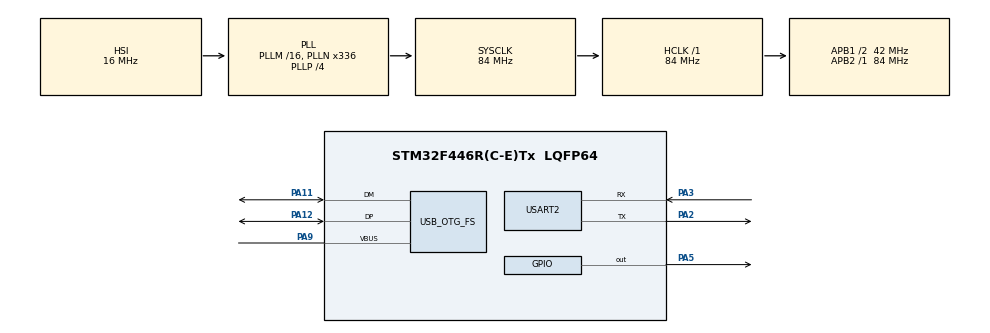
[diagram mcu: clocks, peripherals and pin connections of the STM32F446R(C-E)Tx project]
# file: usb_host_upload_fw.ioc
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FATFS._FS_EXFAT=1
FATFS._FS_TINY=1
FATFS._USE_LFN=3
Mcu.Family=STM32F4
Mcu.Name=STM32F446R(C-E)Tx
Mcu.Package=LQFP64
NVIC.OTG_FS_IRQn=true\:0\:0\:false\:false\:true\:false\:true\:true
NVIC.PriorityGroup=NVIC_PRIORITYGROUP_4
PA11.Mode=Host_Only
PA11.Signal=USB_OTG_FS_DM
PA12.Mode=Host_Only
PA12.Signal=USB_OTG_FS_DP
PA13.Mode=Serial_Wire
PA13.Signal=SYS_JTMS-SWDIO
PA14.Mode=Serial_Wire
PA14.Signal=SYS_JTCK-SWCLK
PA2.Mode=Asynchronous
PA2.Signal=USART2_TX
PA3.Mode=Asynchronous
PA3.Signal=USART2_RX
PA5.Signal=GPIO_Output
PA9.Mode=Activate_VBUS
PA9.Signal=USB_OTG_FS_VBUS
ProjectManager.HeapSize=0x200
ProjectManager.StackSize=0x400
ProjectManager.TargetToolchain=STM32CubeIDE
RCC.AHBFreq_Value=84000000
RCC.APB1CLKDivider=RCC_HCLK_DIV2
RCC.APB1Freq_Value=42000000
RCC.APB1TimFreq_Value=84000000
RCC.APB2Freq_Value=84000000
RCC.APB2TimFreq_Value=84000000
RCC.CortexFreq_Value=84000000
RCC.HCLKFreq_Value=84000000
RCC.HSE_VALUE=25000000
RCC.PLLN=336
RCC.PLLP=RCC_PLLP_DIV4
RCC.PLLQ=7
RCC.PLLSourceVirtualString=RCC_PLLSOURCE_HSI
RCC.SYSCLKFreq_VALUE=84000000
RCC.SYSCLKSource=RCC_SYSCLKSOURCE_PLLCLK
RCC.USBFreq_Value=48000000
RCC.VCOOutputFreq_Value=336000000
USART2.VirtualMode=VM_ASYNC
USB_HOST.SW_VBUS_DRIVE_MSC_FS=true
USB_HOST.USBH_HandleTypeDef-MSC_FS=hUsbHostFS
USB_HOST.VirtualModeFS=Msc
USB_OTG_FS.VirtualMode=Host_Only
USB_OTG_FS.phy_itface=HCD_PHY_EMBEDDED
VP_FATFS_VS_USB.Mode=USB
VP_USB_HOST_VS_USB_HOST_MSC_FS.Mode=MSC_FS
board=custom

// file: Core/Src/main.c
/* USER CODE BEGIN Header */
/**
  ******************************************************************************
  * @file           : main.c
  * @brief          : Main program body
  ******************************************************************************
  * @attention
  *
  * Copyright (c) 2026 STMicroelectronics.
  * All rights reserved.
  *
  * This software is licensed under terms that can be found in the LICENSE file
  * in the root directory of this software component.
  * If no LICENSE file comes with this software, it is provided AS-IS.
  *
  ******************************************************************************
  */
/* USER CODE END Header */
#include "main.h"
#include "fatfs.h"
#include "usb_host.h"

/* USER CODE BEGIN Includes */
extern ApplicationTypeDef Appli_state;
#define APP_ADDR 0x08010000
uint8_t flashed = 0;

/* USER CODE END Includes */

UART_HandleTypeDef huart2;

/* USER CODE BEGIN PV */
/* ================= PRINTF REDIRECT ================= */
int _write(int file, char *ptr, int len)
{
    HAL_UART_Transmit(&huart2, (uint8_t*)ptr, len, HAL_MAX_DELAY);
    return len;
}

int __io_putchar(int ch)
{
    HAL_UART_Transmit(&huart2, (uint8_t*)&ch, 1, HAL_MAX_DELAY);
    return ch;
}

/* USER CODE END PV */

void SystemClock_Config(void);
static void MX_GPIO_Init(void);
static void MX_USART2_UART_Init(void);
void MX_USB_HOST_Process(void);

/* USER CODE BEGIN 0 */
/* ================= JUMP TO APP ================= */
void JumpToApp(void)
{
    uint32_t sp = *(uint32_t*)APP_ADDR;

    if (sp < 0x20000000 || sp > 0x20020000)
    {
        printf("Invalid firmware\n");
        return;
    }

    uint32_t resetHandlerAddr = *(uint32_t*)(APP_ADDR + 4);
    void (*resetHandler)(void) = (void*)resetHandlerAddr;

    printf("Jumping to application...\n");
    HAL_Delay(100);

    HAL_DeInit();
    __disable_irq();

    /* Clear all interrupts */
    for (int i = 0; i < 8; i++)
    {
        NVIC->ICER[i] = 0xFFFFFFFF;
        NVIC->ICPR[i] = 0xFFFFFFFF;
    }

    SCB->VTOR = APP_ADDR;
    __set_MSP(sp);
    __set_CONTROL(0);

    resetHandler();
}

/* ================= FLASH FROM USB ================= */
void Flash_From_USB(void)
{
    FATFS fs;
    FIL file;
    UINT br;
    uint8_t buffer[256];
    uint32_t addr = APP_ADDR;

    printf("\n--- USB Flash Start ---\n");

    if (f_mount(&fs, "", 1) != FR_OK)
    {
        printf("Mount failed\n");
        return;
    }

    if (f_open(&file, "firmware.bin", FA_READ) != FR_OK)
    {
        printf("File not found\n");
        return;
    }

    printf("File size: %lu bytes\n", f_size(&file));   // FIXED

    HAL_FLASH_Unlock();

    FLASH_EraseInitTypeDef erase;
    uint32_t error;

    erase.TypeErase = FLASH_TYPEERASE_SECTORS;
    erase.VoltageRange = FLASH_VOLTAGE_RANGE_3;
    erase.Sector = FLASH_SECTOR_4;
    erase.NbSectors = 4;

    if (HAL_FLASHEx_Erase(&erase, &error) != HAL_OK)
    {
        printf("Erase failed\n");
        HAL_FLASH_Lock();
        return;
    }

    printf("Erase done\n");

    while (1)
    {
        if (f_read(&file, buffer, 256, &br) != FR_OK || br == 0)
            break;

        while (br % 4 != 0)
            buffer[br++] = 0xFF;

        for (int i = 0; i < br; i += 4)
        {
            uint32_t data = *(uint32_t*)&buffer[i];

            if (HAL_FLASH_Program(FLASH_TYPEPROGRAM_WORD, addr, data) != HAL_OK)
            {
                printf("Write failed at 0x%08lX\n", addr);
                HAL_FLASH_Lock();
                return;
            }

            addr += 4;
        }
    }

    f_close(&file);
    HAL_FLASH_Lock();

    printf("Flash complete\n");

    HAL_Delay(1000);

    JumpToApp();
}

/* USER CODE END 0 */

int main(void)
{

  /* MCU Configuration--------------------------------------------------------*/

  /* Reset of all peripherals, Initializes the Flash interface and the Systick. */
  HAL_Init();

  /* Configure the system clock */
  SystemClock_Config();

  /* Initialize all configured peripherals */
  MX_GPIO_Init();
  MX_USART2_UART_Init();
  MX_FATFS_Init();
  MX_USB_HOST_Init();
  /* USER CODE BEGIN 2 */
  printf("System Ready\n");

  /* USER CODE END 2 */

  /* Infinite loop */
  while (1)
  {
    MX_USB_HOST_Process();

    /* USER CODE BEGIN 3 */
    if (Appli_state == APPLICATION_READY && flashed == 0)
    {
        printf("USB detected\n");

        HAL_Delay(1000); // stabilize

        Flash_From_USB();

        flashed = 1;
    }
  }
  /* USER CODE END 3 */
}

void SystemClock_Config(void)
{
  RCC_OscInitTypeDef RCC_OscInitStruct = {0};
  RCC_ClkInitTypeDef RCC_ClkInitStruct = {0};

  /** Configure the main internal regulator output voltage
  */
  __HAL_RCC_PWR_CLK_ENABLE();
  __HAL_PWR_VOLTAGESCALING_CONFIG(PWR_REGULATOR_VOLTAGE_SCALE3);

  /** Initializes the RCC Oscillators according to the specified parameters
  * in the RCC_OscInitTypeDef structure.
  */
  RCC_OscInitStruct.OscillatorType = RCC_OSCILLATORTYPE_HSI;
  RCC_OscInitStruct.HSIState = RCC_HSI_ON;
  RCC_OscInitStruct.HSICalibrationValue = RCC_HSICALIBRATION_DEFAULT;
  RCC_OscInitStruct.PLL.PLLState = RCC_PLL_ON;
  RCC_OscInitStruct.PLL.PLLSource = RCC_PLLSOURCE_HSI;
  RCC_OscInitStruct.PLL.PLLM = 16;
  RCC_OscInitStruct.PLL.PLLN = 336;
  RCC_OscInitStruct.PLL.PLLP = RCC_PLLP_DIV4;
  RCC_OscInitStruct.PLL.PLLQ = 7;
  RCC_OscInitStruct.PLL.PLLR = 2;
  if (HAL_RCC_OscConfig(&RCC_OscInitStruct) != HAL_OK)
  {
    Error_Handler();
  }

  /** Initializes the CPU, AHB and APB buses clocks
  */
  RCC_ClkInitStruct.ClockType = RCC_CLOCKTYPE_HCLK|RCC_CLOCKTYPE_SYSCLK
                              |RCC_CLOCKTYPE_PCLK1|RCC_CLOCKTYPE_PCLK2;
  RCC_ClkInitStruct.SYSCLKSource = RCC_SYSCLKSOURCE_PLLCLK;
  RCC_ClkInitStruct.AHBCLKDivider = RCC_SYSCLK_DIV1;
  RCC_ClkInitStruct.APB1CLKDivider = RCC_HCLK_DIV2;
  RCC_ClkInitStruct.APB2CLKDivider = RCC_HCLK_DIV1;

  if (HAL_RCC_ClockConfig(&RCC_ClkInitStruct, FLASH_LATENCY_2) != HAL_OK)
  {
    Error_Handler();
  }
}

static void MX_USART2_UART_Init(void)
{

  huart2.Instance = USART2;
  huart2.Init.BaudRate = 115200;
  huart2.Init.WordLength = UART_WORDLENGTH_8B;
  huart2.Init.StopBits = UART_STOPBITS_1;
  huart2.Init.Parity = UART_PARITY_NONE;
  huart2.Init.Mode = UART_MODE_TX_RX;
  huart2.Init.HwFlowCtl = UART_HWCONTROL_NONE;
  huart2.Init.OverSampling = UART_OVERSAMPLING_16;
  if (HAL_UART_Init(&huart2) != HAL_OK)
  {
    Error_Handler();
  }

}

static void MX_GPIO_Init(void)
{
  GPIO_InitTypeDef GPIO_InitStruct = {0};

  /* GPIO Ports Clock Enable */
  __HAL_RCC_GPIOA_CLK_ENABLE();

  /*Configure GPIO pin Output Level */
  HAL_GPIO_WritePin(GPIOA, GPIO_PIN_5, GPIO_PIN_RESET);

  /*Configure GPIO pin : PA5 */
  GPIO_InitStruct.Pin = GPIO_PIN_5;
  GPIO_InitStruct.Mode = GPIO_MODE_OUTPUT_PP;
  GPIO_InitStruct.Pull = GPIO_NOPULL;
  GPIO_InitStruct.Speed = GPIO_SPEED_FREQ_LOW;
  HAL_GPIO_Init(GPIOA, &GPIO_InitStruct);

}

void Error_Handler(void)
{
  __disable_irq();
  while (1)
  {
  }
}
